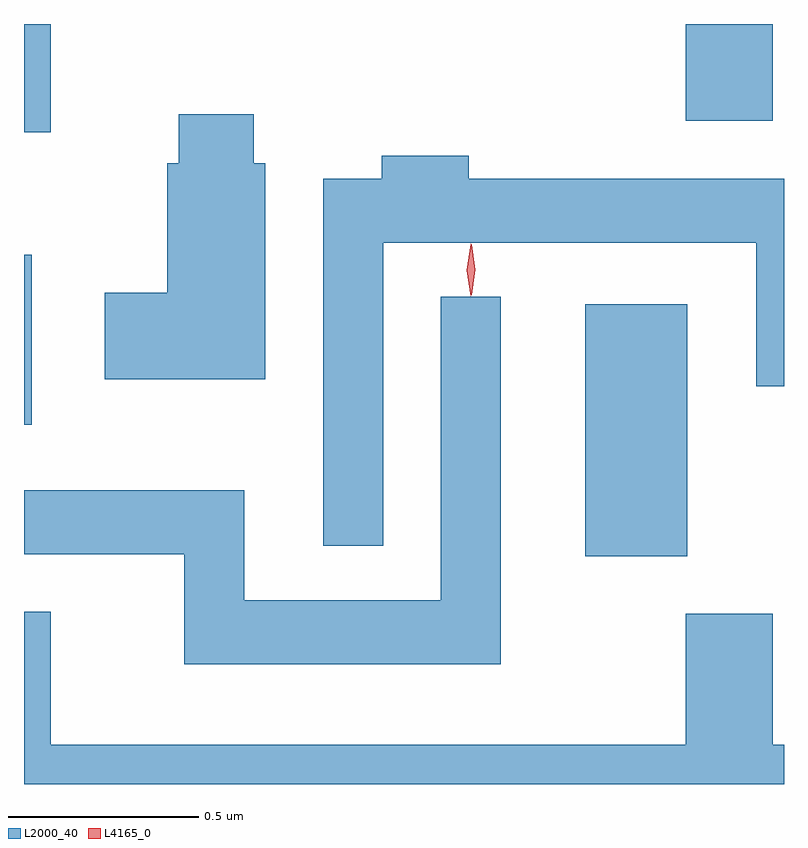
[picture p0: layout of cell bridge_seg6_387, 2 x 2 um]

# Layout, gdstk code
import gdstk
lib = gdstk.Library(unit=1e-6, precision=1e-09)
def R(c, l, rs):  # rectangles x0, y0, x1, y1
    for r in rs: c.add(gdstk.rectangle(r[:2], r[2:], *l))
def P(c, l, *ps):  # polygons
    for p in ps: c.add(gdstk.Polygon(p, *l))
L2000_40 = (2000, 40)
L4165_0 = (4165, 0)

bridge_seg6_387 = lib.new_cell('bridge_seg6_387')
R(bridge_seg6_387, L2000_40, [(1330.806,1541.921,1331.074,1542.584), (1329.329,1542.266,1329.349,1542.714), (1329.329,1543.036,1329.399,1543.321), (1331.071,1543.066,1331.299,1543.321)])
P(bridge_seg6_387, L2000_40, [(1329.964,1542.954),(1329.934,1542.954),(1329.934,1543.084),(1329.736,1543.084),(1329.736,1542.954),(1329.706,1542.954),(1329.706,1542.614),(1329.541,1542.614),(1329.541,1542.386),(1329.964,1542.386)],
  [(1330.274,1542.746),(1331.256,1542.746),(1331.256,1542.368),(1331.329,1542.368),(1331.329,1542.914),(1330.499,1542.914),(1330.499,1542.974),(1330.271,1542.974),(1330.271,1542.914),(1330.116,1542.914),(1330.116,1541.948),(1330.274,1541.948)],
  [(1330.584,1542.603),(1330.426,1542.603),(1330.426,1541.804),(1329.909,1541.804),(1329.909,1542.094),(1329.329,1542.094),(1329.329,1541.926),(1329.751,1541.926),(1329.751,1541.636),(1330.584,1541.636)],
  [(1331.329,1541.424),(1331.299,1541.424),(1331.299,1541.769),(1331.071,1541.769),(1331.071,1541.424),(1329.399,1541.424),(1329.399,1541.774),(1329.329,1541.774),(1329.329,1541.321),(1331.329,1541.321)])
P(bridge_seg6_387, L4165_0, [(1330.507,1542.607),(1330.506,1542.608),(1330.497,1542.674),(1330.506,1542.74),(1330.507,1542.741),(1330.507,1542.74),(1330.517,1542.674),(1330.507,1542.608)],
  [(1330.504,1542.604),(1330.504,1542.604),(1330.494,1542.673),(1330.504,1542.742),(1330.504,1542.743),(1330.505,1542.742),(1330.514,1542.673),(1330.505,1542.604)])

lib.write_gds('bridge_seg6_387.gds')
